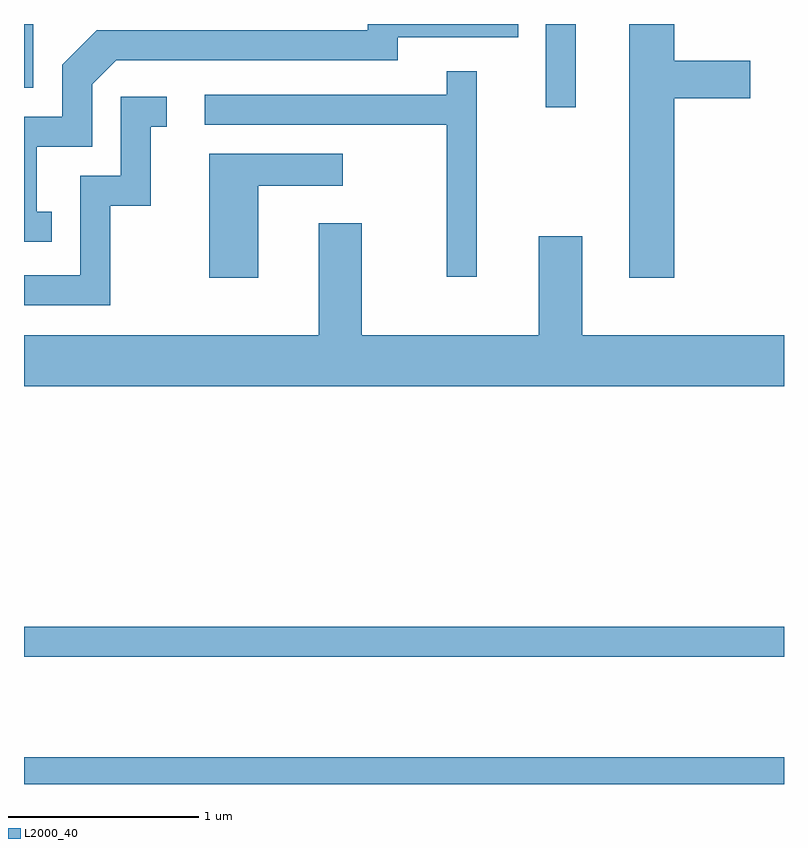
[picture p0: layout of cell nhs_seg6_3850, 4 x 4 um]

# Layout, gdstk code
import gdstk
lib = gdstk.Library(unit=1e-6, precision=1e-09)
def R(c, l, rs):  # rectangles x0, y0, x1, y1
    for r in rs: c.add(gdstk.rectangle(r[:2], r[2:], *l))
def P(c, l, *ps):  # polygons
    for p in ps: c.add(gdstk.Polygon(p, *l))
L2000_40 = (2000, 40)

nhs_seg6_3850 = lib.new_cell('nhs_seg6_3850')
R(nhs_seg6_3850, L2000_40, [(301.611,1550.162,305.611,1550.304), (301.611,1550.831,305.611,1550.989), (304.356,1553.723,304.514,1554.162), (301.611,1553.826,301.659,1554.162)])
P(nhs_seg6_3850, L2000_40, [(305.034,1553.771),(305.434,1553.771),(305.434,1553.969),(305.034,1553.969),(305.034,1554.162),(304.796,1554.162),(304.796,1552.826),(305.034,1552.826)],
  [(301.758,1553.174),(301.679,1553.174),(301.679,1553.516),(301.969,1553.516),(301.969,1553.844),(302.097,1553.971),(303.579,1553.971),(303.579,1554.091),(304.213,1554.091),(304.213,1554.162),(303.421,1554.162),(303.421,1554.129),(301.994,1554.129),(301.811,1553.947),(301.811,1553.674),(301.611,1553.674),(301.611,1553.016),(301.758,1553.016)],
  [(303.994,1553.913),(303.836,1553.913),(303.836,1553.789),(302.563,1553.789),(302.563,1553.631),(303.836,1553.631),(303.836,1552.833),(303.994,1552.833)],
  [(302.064,1553.206),(302.279,1553.206),(302.279,1553.621),(302.363,1553.621),(302.363,1553.779),(302.121,1553.779),(302.121,1553.364),(301.906,1553.364),(301.906,1552.839),(301.611,1552.839),(301.611,1552.681),(302.064,1552.681)],
  [(302.844,1553.311),(303.288,1553.311),(303.288,1553.479),(302.586,1553.479),(302.586,1552.826),(302.844,1552.826)],
  [(305.611,1552.524),(304.549,1552.524),(304.549,1553.044),(304.321,1553.044),(304.321,1552.524),(303.389,1552.524),(303.389,1553.114),(303.161,1553.114),(303.161,1552.524),(301.611,1552.524),(301.611,1552.256),(305.611,1552.256)])

lib.write_gds('nhs_seg6_3850.gds')
